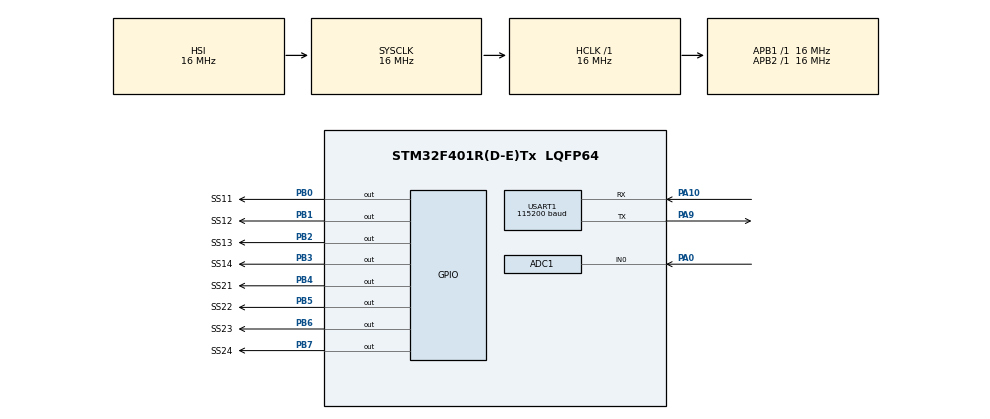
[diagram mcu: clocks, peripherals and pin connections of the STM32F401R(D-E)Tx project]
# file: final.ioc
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ADC1.Channel-0\#ChannelRegularConversion=ADC_CHANNEL_0
ADC1.ClockPrescaler=ADC_CLOCK_SYNC_PCLK_DIV2
ADC1.ContinuousConvMode=DISABLE
ADC1.InjNumberOfConversion=0
ADC1.NbrOfConversion=1
ADC1.NbrOfConversionFlag=1
ADC1.Rank-0\#ChannelRegularConversion=1
ADC1.SamplingTime-0\#ChannelRegularConversion=ADC_SAMPLETIME_3CYCLES
ADC1.ScanConvMode=ENABLE
ADC1.master=1
Mcu.Family=STM32F4
Mcu.Name=STM32F401R(D-E)Tx
Mcu.Package=LQFP64
NVIC.PriorityGroup=NVIC_PRIORITYGROUP_4
NVIC.TIM2_IRQn=true\:0\:0\:false\:false\:true\:true\:true
PA0-WKUP.GPIO_PuPd=GPIO_NOPULL
PA0-WKUP.Signal=ADCx_IN0
PA10.Mode=Asynchronous
PA10.Signal=USART1_RX
PA9.Mode=Asynchronous
PA9.Signal=USART1_TX
PB0.GPIO_Label=SS11
PB0.Signal=GPIO_Output
PB1.GPIO_Label=SS12
PB1.Signal=GPIO_Output
PB2.GPIO_Label=SS13
PB2.Signal=GPIO_Output
PB3.GPIO_Label=SS14
PB3.Signal=GPIO_Output
PB4.GPIO_Label=SS21
PB4.Signal=GPIO_Output
PB5.GPIO_Label=SS22
PB5.Signal=GPIO_Output
PB6.GPIO_Label=SS23
PB6.Signal=GPIO_Output
PB7.GPIO_Label=SS24
PB7.Signal=GPIO_Output
ProjectManager.HeapSize=0x200
ProjectManager.StackSize=0x400
ProjectManager.TargetToolchain=MDK-ARM V5.27
RCC.48MHZClocksFreq_Value=32000000
RCC.AHBFreq_Value=16000000
RCC.APB1Freq_Value=16000000
RCC.APB1TimFreq_Value=16000000
RCC.APB2Freq_Value=16000000
RCC.APB2TimFreq_Value=16000000
RCC.CortexFreq_Value=16000000
RCC.HCLKFreq_Value=16000000
RCC.HSE_VALUE=25000000
RCC.HSI_VALUE=16000000
RCC.LSE_VALUE=32768
RCC.PLLM=8
RCC.PLLN=64
RCC.SYSCLKFreq_VALUE=16000000
RCC.VCOOutputFreq_Value=128000000
SH.ADCx_IN0.0=ADC1_IN0,IN0
TIM2.Period=3
TIM2.Prescaler=15999
USART1.BaudRate=115200
USART1.VirtualMode=VM_ASYNC
VP_TIM2_VS_ClockSourceINT.Mode=Internal
board=custom

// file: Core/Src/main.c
/* USER CODE BEGIN Header */
/**
  ******************************************************************************
  * @file           : main.c
  * @brief          : Main program body
  ******************************************************************************
  * @attention
  *
  * Copyright (c) 2022 STMicroelectronics.
  * All rights reserved.
  *
  * This software is licensed under terms that can be found in the LICENSE file
  * in the root directory of this software component.
  * If no LICENSE file comes with this software, it is provided AS-IS.
  *
  ******************************************************************************
  */
/* USER CODE END Header */
#include "main.h"

/* USER CODE BEGIN Includes */
#include <stdio.h>
#include <string.h>
#include <stdlib.h>
#include <math.h>
/* USER CODE END Includes */

/* USER CODE BEGIN PTD */

#define PI 3.14159265358979

/* USER CODE END PTD */

ADC_HandleTypeDef hadc1;

TIM_HandleTypeDef htim2;

UART_HandleTypeDef huart1;

/* USER CODE BEGIN PV */

const int N = 200;
const long sampling_rate = 5000;
float coef[4][4];
float cosine[4][4];
float sine[4][4];
const int frows[4] = {697, 770, 852, 941};
const int fcols[4] = {1209, 1336, 1477, 1633};
int sampling_cnt = 0;
int adc_values[N];

int Q1[3], Q2[3], Q3[3], Q4[3], Q5[3], Q6[3], Q7[3], Q8[3], Q9[3], Q10[3], Q11[3], Q12[3], Q13[3], Q14[3], Q15[3], Q16[3];
int QT1[2], QT2[2], QT3[2], QT4[2], QT5[2], QT6[2], QT7[2], QT8[2], QT9[2], QT10[2], QT11[2], QT12[2], QT13[2], QT14[2],
		QT15[2], QT16[2];
double mag_squared[8];
double mag_squared2[8];
double mag[8];
int do_goertzel = 0;
int done = 0;
char btns[4][4] = {{'1', '2', '3', 'A'}, {'4', '5', '6', 'B'}, {'7', '8', '9', 'C'}, {'*', '0', '#', 'D'}};
int btn_num[4][4] = {{1, 2, 3, 4}, {5, 6, 7, 8}, {9, 10, 11, 12}, {13, 14, 15, 16}};
int timer_cnt = 0;

/* USER CODE END PV */

void SystemClock_Config(void);
static void MX_GPIO_Init(void);
static void MX_ADC1_Init(void);
static void MX_USART1_UART_Init(void);
static void MX_TIM2_Init(void);
/* USER CODE BEGIN PFP */
void goertzel(void);
/* USER CODE END PFP */

/* USER CODE BEGIN 0 */

void show_data(char* str) {
	HAL_UART_Transmit(&huart1, (uint8_t*)str, strlen(str), 20);
}

void write_sevenseg(int num) {
	int dahgan = num / 10;
	int yekan = num % 10;

	HAL_GPIO_WritePin(SS11_GPIO_Port, SS11_Pin, ((dahgan>>3)&0x01));
	HAL_GPIO_WritePin(SS12_GPIO_Port, SS12_Pin, ((dahgan>>2)&0x01));
	HAL_GPIO_WritePin(SS13_GPIO_Port, SS13_Pin, ((dahgan>>1)&0x01));
	HAL_GPIO_WritePin(SS14_GPIO_Port, SS14_Pin, ((dahgan>>0)&0x01));

	HAL_GPIO_WritePin(SS21_GPIO_Port, SS21_Pin, ((yekan>>3)&0x01));
	HAL_GPIO_WritePin(SS22_GPIO_Port, SS22_Pin, ((yekan>>2)&0x01));
	HAL_GPIO_WritePin(SS23_GPIO_Port, SS23_Pin, ((yekan>>1)&0x01));
	HAL_GPIO_WritePin(SS24_GPIO_Port, SS24_Pin, ((yekan>>0)&0x01));
}

void init_qs() {
	Q1[1] = 0; Q1[2] = 0; Q1[0] = 0; Q9[0] = 0;  Q9[1] = 0;  Q9[2] = 0;
	Q2[1] = 0; Q2[2] = 0; Q2[0] = 0; Q10[0] = 0; Q10[1] = 0; Q10[2] = 0;
	Q3[1] = 0; Q3[2] = 0; Q3[0] = 0; Q11[0] = 0; Q11[1] = 0; Q11[2] = 0;
	Q4[1] = 0; Q4[2] = 0; Q4[0] = 0; Q12[0] = 0; Q12[1] = 0; Q12[2] = 0;
	Q5[1] = 0; Q5[2] = 0; Q5[0] = 0; Q13[0] = 0; Q13[1] = 0; Q13[2] = 0;
	Q6[1] = 0; Q6[2] = 0; Q6[0] = 0; Q14[0] = 0; Q14[1] = 0; Q14[2] = 0;
	Q7[1] = 0; Q7[2] = 0; Q7[0] = 0; Q15[0] = 0; Q15[1] = 0; Q15[2] = 0;
	Q8[1] = 0; Q8[2] = 0; Q8[0] = 0; Q16[0] = 0; Q16[1] = 0; Q16[2] = 0;
}

void handle_qs() {
	for (int i = 0; i < N; i++) {
		Q1[2] = Q1[1];
		Q1[1] = Q1[0];
		Q1[0] = (coef[0][0] * Q1[1]) - Q1[2] + adc_values[i];

		Q2[2] = Q2[1];
		Q2[1] = Q2[0];
		Q2[0] = (coef[0][1] * Q2[1]) - Q2[2] + adc_values[i];

		Q3[2] = Q3[1];
		Q3[1] = Q3[0];
		Q3[0] = (coef[0][2] * Q3[1]) - Q3[2] + adc_values[i];

		Q4[2] = Q4[1];
		Q4[1] = Q4[0];
		Q4[0] = (coef[0][3] * Q4[1]) - Q4[2] + adc_values[i];

		Q5[2] = Q5[1];
		Q5[1] = Q5[0];
		Q5[0] = (coef[1][0] * Q5[1]) - Q5[2] + adc_values[i];

		Q6[2] = Q6[1];
		Q6[1] = Q6[0];
		Q6[0] = (coef[1][1] * Q6[1]) - Q6[2] + adc_values[i];

		Q7[2] = Q7[1];
		Q7[1] = Q7[0];
		Q7[0] = (coef[1][2] * Q7[1]) - Q7[2] + adc_values[i];

		Q8[2] = Q8[1];
		Q8[1] = Q8[0];
		Q8[0] = (coef[1][3] * Q8[1]) - Q8[2] + adc_values[i];

		Q9[2] = Q9[1];
		Q9[1] = Q9[0];
		Q9[0] = (coef[2][0] * Q9[1]) - Q9[2] + adc_values[i];

		Q10[2] = Q10[1];
		Q10[1] = Q10[0];
		Q10[0] = (coef[2][1] * Q10[1]) - Q10[2] + adc_values[i];

		Q11[2] = Q11[1];
		Q11[1] = Q11[0];
		Q11[0] = (coef[2][2] * Q11[1]) - Q11[2] + adc_values[i];

		Q12[2] = Q12[1];
		Q12[1] = Q12[0];
		Q12[0] = (coef[2][3] * Q12[1]) - Q12[2] + adc_values[i];

		Q13[2] = Q13[1];
		Q13[1] = Q13[0];
		Q13[0] = (coef[3][0] * Q13[1]) - Q13[2] + adc_values[i];

		Q14[2] = Q14[1];
		Q14[1] = Q14[0];
		Q14[0] = (coef[3][1] * Q14[1]) - Q14[2] + adc_values[i];

		Q15[2] = Q15[1];
		Q15[1] = Q15[0];
		Q15[0] = (coef[3][2] * Q15[1]) - Q15[2] + adc_values[i];

		Q16[2] = Q16[1];
		Q16[1] = Q16[0];
		Q16[0] = (coef[3][3] * Q16[1]) - Q16[2] + adc_values[i];

	}

	QT1[0] = Q1[1]; QT1[1] = Q1[2];  QT9[1] = Q9[2];   QT9[0] = Q9[1];
	QT2[0] = Q2[1]; QT2[1] = Q2[2];  QT10[1] = Q10[2]; QT10[0] = Q10[1];
	QT3[0] = Q3[1]; QT3[1] = Q3[2];  QT11[1] = Q11[2]; QT11[0] = Q11[1];
	QT4[0] = Q4[1]; QT4[1] = Q4[2];  QT12[1] = Q12[2]; QT12[0] = Q12[1];
	QT5[0] = Q5[1]; QT5[1] = Q5[2];  QT13[1] = Q13[2]; QT13[0] = Q13[1];
	QT6[0] = Q6[1]; QT6[1] = Q6[2];  QT14[1] = Q14[2]; QT14[0] = Q14[1];
	QT7[0] = Q7[1]; QT7[1] = Q7[2];  QT15[1] = Q15[2]; QT15[0] = Q15[1];
	QT8[0] = Q8[1]; QT8[1] = Q8[2];  QT16[1] = Q16[2]; QT16[0] = Q16[1];

	Q1[1] = 0; Q1[2] = 0; Q1[0] = 0;  Q9[2]  = 0;  Q9[1]  = 0;  Q9[0]  = 0;
	Q2[1] = 0; Q2[2] = 0; Q2[0] = 0;  Q10[2] = 0;  Q10[1] = 0;  Q10[0] = 0;
	Q3[1] = 0; Q3[2] = 0; Q3[0] = 0;  Q11[2] = 0;  Q11[1] = 0;  Q11[0] = 0;
	Q4[1] = 0; Q4[2] = 0; Q4[0] = 0;  Q12[2] = 0;  Q12[1] = 0;  Q12[0] = 0;
	Q5[1] = 0; Q5[2] = 0; Q5[0] = 0;  Q13[2] = 0;  Q13[1] = 0;  Q13[0] = 0;
	Q6[1] = 0; Q6[2] = 0; Q6[0] = 0;  Q14[2] = 0;  Q14[1] = 0;  Q14[0] = 0;
	Q7[1] = 0; Q7[2] = 0; Q7[0] = 0;  Q15[2] = 0;  Q15[1] = 0;  Q15[0] = 0;
	Q8[1] = 0; Q8[2] = 0; Q8[0] = 0;  Q16[2] = 0;  Q16[1] = 0;  Q16[0] = 0;

	sampling_cnt = 0;
	done = 1;
	memset(adc_values, 0, N);

	goertzel();
}

void adc_handler(int adc_value){
	char str[10];
	sprintf(str, "%d", adc_value);
	strcat(str, "\r");
	show_data(str);

	if (sampling_cnt < N) {
		adc_values[sampling_cnt] = adc_value;
		sampling_cnt++;
	} else {
		handle_qs();
	}

}

void TIM2_IRQHandler() {
	HAL_ADC_Start(&hadc1);
	if (HAL_ADC_PollForConversion(&hadc1, 1) == HAL_OK) {
		int adc_value = (int)HAL_ADC_GetValue(&hadc1);
		adc_handler(adc_value);
	}
	HAL_ADC_Stop(&hadc1);
}

float coefi(int k) {
	return 2 * cos((float)(2.0*PI*k)/(float)N);
}

float sinei(int k) {
	return sin((float)(2.0*PI*k)/(float)N);
}

float cosinei(int k) {
	return cos((float)(2.0*PI*k)/(float)N);
}

void calc_coef() {
	int k = 0;
	for (int i = 0; i < 4; i++) {
		k = round(0.5 + ((float)(N * frows[i])/(float)sampling_rate));
		coef[0][i] = coefi(k);
		cosine[0][i] = cosinei(k);
		sine[0][i] = sinei(k);
		k = round(0.5 + ((float)(N * fcols[i])/(float)sampling_rate));
		coef[1][i] = coefi(k);
		cosine[1][i] = cosinei(k);
		sine[1][i] = sinei(k);
		k = round(0.5 + ((float)(N * 2 * frows[i])/(float)sampling_rate));
		coef[2][i] = coefi(k);
		cosine[2][i] = cosinei(k);
		sine[2][i] = sinei(k);
		k = round(0.5 + ((float)(N * 2 * fcols[i])/(float)sampling_rate));
		coef[3][i] = coefi(k);
		cosine[3][i] = cosinei(k);
		sine[3][i] = sinei(k);
	}
	/*
	for (int i = 0; i< 4; i++) {
		char str[10];
		sprintf(str, "%f", coef[0][i]);
		strcat(str, "\r");
		show_data(str);
		char str1[10];
		sprintf(str1, "%f", coef[1][i]);
		strcat(str1, "\r");
		show_data(str1);
	}
	*/
}

void goertzel() {
	if (done) {
		done = 0;
		show_data("dooonnnneeee\r");
		double scalling = (N / 2);

		double reals[8], imags[8], reals2[8], imags2[8];

		reals[0] = (QT1[0] - QT1[1] * cosine[0][0]) / scalling;
		reals[1] = (QT2[0] - QT2[1] * cosine[0][1]) / scalling;
		reals[2] = (QT3[0] - QT3[1] * cosine[0][2]) / scalling;
		reals[3] = (QT4[0] - QT4[1] * cosine[0][3]) / scalling;
		reals[4] = (QT5[0] - QT5[1] * cosine[1][0]) / scalling;
		reals[5] = (QT6[0] - QT6[1] * cosine[1][1]) / scalling;
		reals[6] = (QT7[0] - QT7[1] * cosine[1][2]) / scalling;
		reals[7] = (QT8[0] - QT8[1] * cosine[1][3]) / scalling;

		reals2[0] = (QT9[0] - QT9[1] * cosine[2][0]) / scalling;
		reals2[1] = (QT10[0] - QT10[1] * cosine[2][1]) / scalling;
		reals2[2] = (QT11[0] - QT11[1] * cosine[2][2]) / scalling;
		reals2[3] = (QT12[0] - QT12[1] * cosine[2][3]) / scalling;
		reals2[4] = (QT13[0] - QT13[1] * cosine[3][0]) / scalling;
		reals2[5] = (QT14[0] - QT14[1] * cosine[3][1]) / scalling;
		reals2[6] = (QT15[0] - QT15[1] * cosine[3][2]) / scalling;
		reals2[7] = (QT16[0] - QT16[1] * cosine[3][3]) / scalling;

		imags[0] = (QT1[1] * sine[0][0]) / scalling;
		imags[1] = (QT2[1] * sine[0][1]) / scalling;
		imags[2] = (QT3[1] * sine[0][2]) / scalling;
		imags[3] = (QT4[1] * sine[0][3]) / scalling;
		imags[4] = (QT5[1] * sine[1][0]) / scalling;
		imags[5] = (QT6[1] * sine[1][1]) / scalling;
		imags[6] = (QT7[1] * sine[1][2]) / scalling;
		imags[7] = (QT8[1] * sine[1][3]) / scalling;

		imags2[0] = (QT9[1]  * sine[2][0]) / scalling;
		imags2[1] = (QT10[1] * sine[2][1]) / scalling;
		imags2[2] = (QT11[1] * sine[2][2]) / scalling;
		imags2[3] = (QT12[1] * sine[2][3]) / scalling;
		imags2[4] = (QT13[1] * sine[3][0]) / scalling;
		imags2[5] = (QT14[1] * sine[3][1]) / scalling;
		imags2[6] = (QT15[1] * sine[3][2]) / scalling;
		imags2[7] = (QT16[1] * sine[3][3]) / scalling;

		for(int i = 0; i < 8; i ++) {
			mag_squared[i] = reals[i] * reals[i] + imags[i] * imags[i];
			mag_squared2[i] = reals2[i] * reals2[i] + imags2[i] * imags2[i];
		}
		char mag_str[8][20];
		for (int i = 0; i < 8; i ++) {
			sprintf(mag_str[i], "%lf\r",  mag_squared[i]);
			show_data(mag_str[i]);
		}

		double sum_squared2 = 0;
		for(int i = 0; i < 8; i ++) {
			sum_squared2 += mag_squared2[i];
		}

		//if (sum_squared2 > 100000.0 || sum_squared2 < 1) {
		//	write_sevenseg(0);
		//	show_data("invalid signals ");
		//}

		//else {
			int max_rows = 0, max_cols = 4;
			for (int i = 0; i < 4; i ++) {
				if (mag_squared[max_rows] < mag_squared[i])
					max_rows = i;
			}
			for (int i = 4; i < 8; i++) {
				if (mag_squared[max_cols] < mag_squared[i])
					max_cols = i;
			}

			int result_num = btn_num[max_rows][max_cols - 4];
			char xx[4];
			sprintf(xx, "%d\r", result_num);
			show_data(xx);
			write_sevenseg(result_num);

			char* result = " result: ";
			show_data(result);

			char btn = btns[max_rows][max_cols - 4];
			char schar[3];
			sprintf(schar, "%c\r", btn);
			show_data(schar);
		}
	//}
}

/* USER CODE END 0 */

int main(void)
{

  /* MCU Configuration--------------------------------------------------------*/

  /* Reset of all peripherals, Initializes the Flash interface and the Systick. */
  HAL_Init();

  /* Configure the system clock */
  SystemClock_Config();

  /* Initialize all configured peripherals */
  MX_GPIO_Init();
  MX_ADC1_Init();
  MX_USART1_UART_Init();
  MX_TIM2_Init();
  /* USER CODE BEGIN 2 */
	HAL_TIM_Base_Start_IT(&htim2);
	init_qs();
	calc_coef();

	CoreDebug->DEMCR |= CoreDebug_DEMCR_TRCENA_Msk;
	DWT->CYCCNT = 0;
	DWT->CTRL |= DWT_CTRL_CYCCNTENA_Msk;

	int x, y;
	int z, t;
  /* USER CODE END 2 */

  /* Infinite loop */
  while (1)
  {

    /* USER CODE BEGIN 3 */

		//x = DWT->CYCCNT;

		//y = DWT->CYCCNT;
		//show_data("duration: ");
		//char timechar[10];
		//sprintf(timechar, "%d\r", (y - x));
		//show_data(timechar);
  }
  /* USER CODE END 3 */
}

void SystemClock_Config(void)
{
  RCC_OscInitTypeDef RCC_OscInitStruct = {0};
  RCC_ClkInitTypeDef RCC_ClkInitStruct = {0};

  /** Configure the main internal regulator output voltage
  */
  __HAL_RCC_PWR_CLK_ENABLE();
  __HAL_PWR_VOLTAGESCALING_CONFIG(PWR_REGULATOR_VOLTAGE_SCALE2);
  /** Initializes the RCC Oscillators according to the specified parameters
  * in the RCC_OscInitTypeDef structure.
  */
  RCC_OscInitStruct.OscillatorType = RCC_OSCILLATORTYPE_HSI;
  RCC_OscInitStruct.HSIState = RCC_HSI_ON;
  RCC_OscInitStruct.HSICalibrationValue = RCC_HSICALIBRATION_DEFAULT;
  RCC_OscInitStruct.PLL.PLLState = RCC_PLL_NONE;
  if (HAL_RCC_OscConfig(&RCC_OscInitStruct) != HAL_OK)
  {
    Error_Handler();
  }
  /** Initializes the CPU, AHB and APB buses clocks
  */
  RCC_ClkInitStruct.ClockType = RCC_CLOCKTYPE_HCLK|RCC_CLOCKTYPE_SYSCLK
                              |RCC_CLOCKTYPE_PCLK1|RCC_CLOCKTYPE_PCLK2;
  RCC_ClkInitStruct.SYSCLKSource = RCC_SYSCLKSOURCE_HSI;
  RCC_ClkInitStruct.AHBCLKDivider = RCC_SYSCLK_DIV1;
  RCC_ClkInitStruct.APB1CLKDivider = RCC_HCLK_DIV1;
  RCC_ClkInitStruct.APB2CLKDivider = RCC_HCLK_DIV1;

  if (HAL_RCC_ClockConfig(&RCC_ClkInitStruct, FLASH_LATENCY_0) != HAL_OK)
  {
    Error_Handler();
  }
}

static void MX_ADC1_Init(void)
{

  ADC_ChannelConfTypeDef sConfig = {0};

  /** Configure the global features of the ADC (Clock, Resolution, Data Alignment and number of conversion)
  */
  hadc1.Instance = ADC1;
  hadc1.Init.ClockPrescaler = ADC_CLOCK_SYNC_PCLK_DIV2;
  hadc1.Init.Resolution = ADC_RESOLUTION_12B;
  hadc1.Init.ScanConvMode = ENABLE;
  hadc1.Init.ContinuousConvMode = DISABLE;
  hadc1.Init.DiscontinuousConvMode = DISABLE;
  hadc1.Init.ExternalTrigConvEdge = ADC_EXTERNALTRIGCONVEDGE_NONE;
  hadc1.Init.ExternalTrigConv = ADC_SOFTWARE_START;
  hadc1.Init.DataAlign = ADC_DATAALIGN_RIGHT;
  hadc1.Init.NbrOfConversion = 1;
  hadc1.Init.DMAContinuousRequests = DISABLE;
  hadc1.Init.EOCSelection = ADC_EOC_SINGLE_CONV;
  if (HAL_ADC_Init(&hadc1) != HAL_OK)
  {
    Error_Handler();
  }
  /** Configure for the selected ADC regular channel its corresponding rank in the sequencer and its sample time.
  */
  sConfig.Channel = ADC_CHANNEL_0;
  sConfig.Rank = 1;
  sConfig.SamplingTime = ADC_SAMPLETIME_3CYCLES;
  if (HAL_ADC_ConfigChannel(&hadc1, &sConfig) != HAL_OK)
  {
    Error_Handler();
  }

}

static void MX_TIM2_Init(void)
{

  TIM_ClockConfigTypeDef sClockSourceConfig = {0};
  TIM_MasterConfigTypeDef sMasterConfig = {0};

  htim2.Instance = TIM2;
  htim2.Init.Prescaler = 159999;
  htim2.Init.CounterMode = TIM_COUNTERMODE_UP;
  htim2.Init.Period = 1;
  htim2.Init.ClockDivision = TIM_CLOCKDIVISION_DIV1;
  htim2.Init.AutoReloadPreload = TIM_AUTORELOAD_PRELOAD_DISABLE;
  if (HAL_TIM_Base_Init(&htim2) != HAL_OK)
  {
    Error_Handler();
  }
  sClockSourceConfig.ClockSource = TIM_CLOCKSOURCE_INTERNAL;
  if (HAL_TIM_ConfigClockSource(&htim2, &sClockSourceConfig) != HAL_OK)
  {
    Error_Handler();
  }
  sMasterConfig.MasterOutputTrigger = TIM_TRGO_RESET;
  sMasterConfig.MasterSlaveMode = TIM_MASTERSLAVEMODE_DISABLE;
  if (HAL_TIMEx_MasterConfigSynchronization(&htim2, &sMasterConfig) != HAL_OK)
  {
    Error_Handler();
  }

}

static void MX_USART1_UART_Init(void)
{

  huart1.Instance = USART1;
  huart1.Init.BaudRate = 115200;
  huart1.Init.WordLength = UART_WORDLENGTH_8B;
  huart1.Init.StopBits = UART_STOPBITS_1;
  huart1.Init.Parity = UART_PARITY_NONE;
  huart1.Init.Mode = UART_MODE_TX_RX;
  huart1.Init.HwFlowCtl = UART_HWCONTROL_NONE;
  huart1.Init.OverSampling = UART_OVERSAMPLING_16;
  if (HAL_UART_Init(&huart1) != HAL_OK)
  {
    Error_Handler();
  }

}

static void MX_GPIO_Init(void)
{
  GPIO_InitTypeDef GPIO_InitStruct = {0};

  /* GPIO Ports Clock Enable */
  __HAL_RCC_GPIOA_CLK_ENABLE();
  __HAL_RCC_GPIOB_CLK_ENABLE();

  /*Configure GPIO pin Output Level */
  HAL_GPIO_WritePin(GPIOB, SS11_Pin|SS12_Pin|SS13_Pin|SS14_Pin
                          |SS21_Pin|SS22_Pin|SS23_Pin|SS24_Pin, GPIO_PIN_RESET);

  /*Configure GPIO pins : SS11_Pin SS12_Pin SS13_Pin SS14_Pin
                           SS21_Pin SS22_Pin SS23_Pin SS24_Pin */
  GPIO_InitStruct.Pin = SS11_Pin|SS12_Pin|SS13_Pin|SS14_Pin
                          |SS21_Pin|SS22_Pin|SS23_Pin|SS24_Pin;
  GPIO_InitStruct.Mode = GPIO_MODE_OUTPUT_PP;
  GPIO_InitStruct.Pull = GPIO_NOPULL;
  GPIO_InitStruct.Speed = GPIO_SPEED_FREQ_LOW;
  HAL_GPIO_Init(GPIOB, &GPIO_InitStruct);

}

void Error_Handler(void)
{
  __disable_irq();
  while (1)
  {
  }
}
